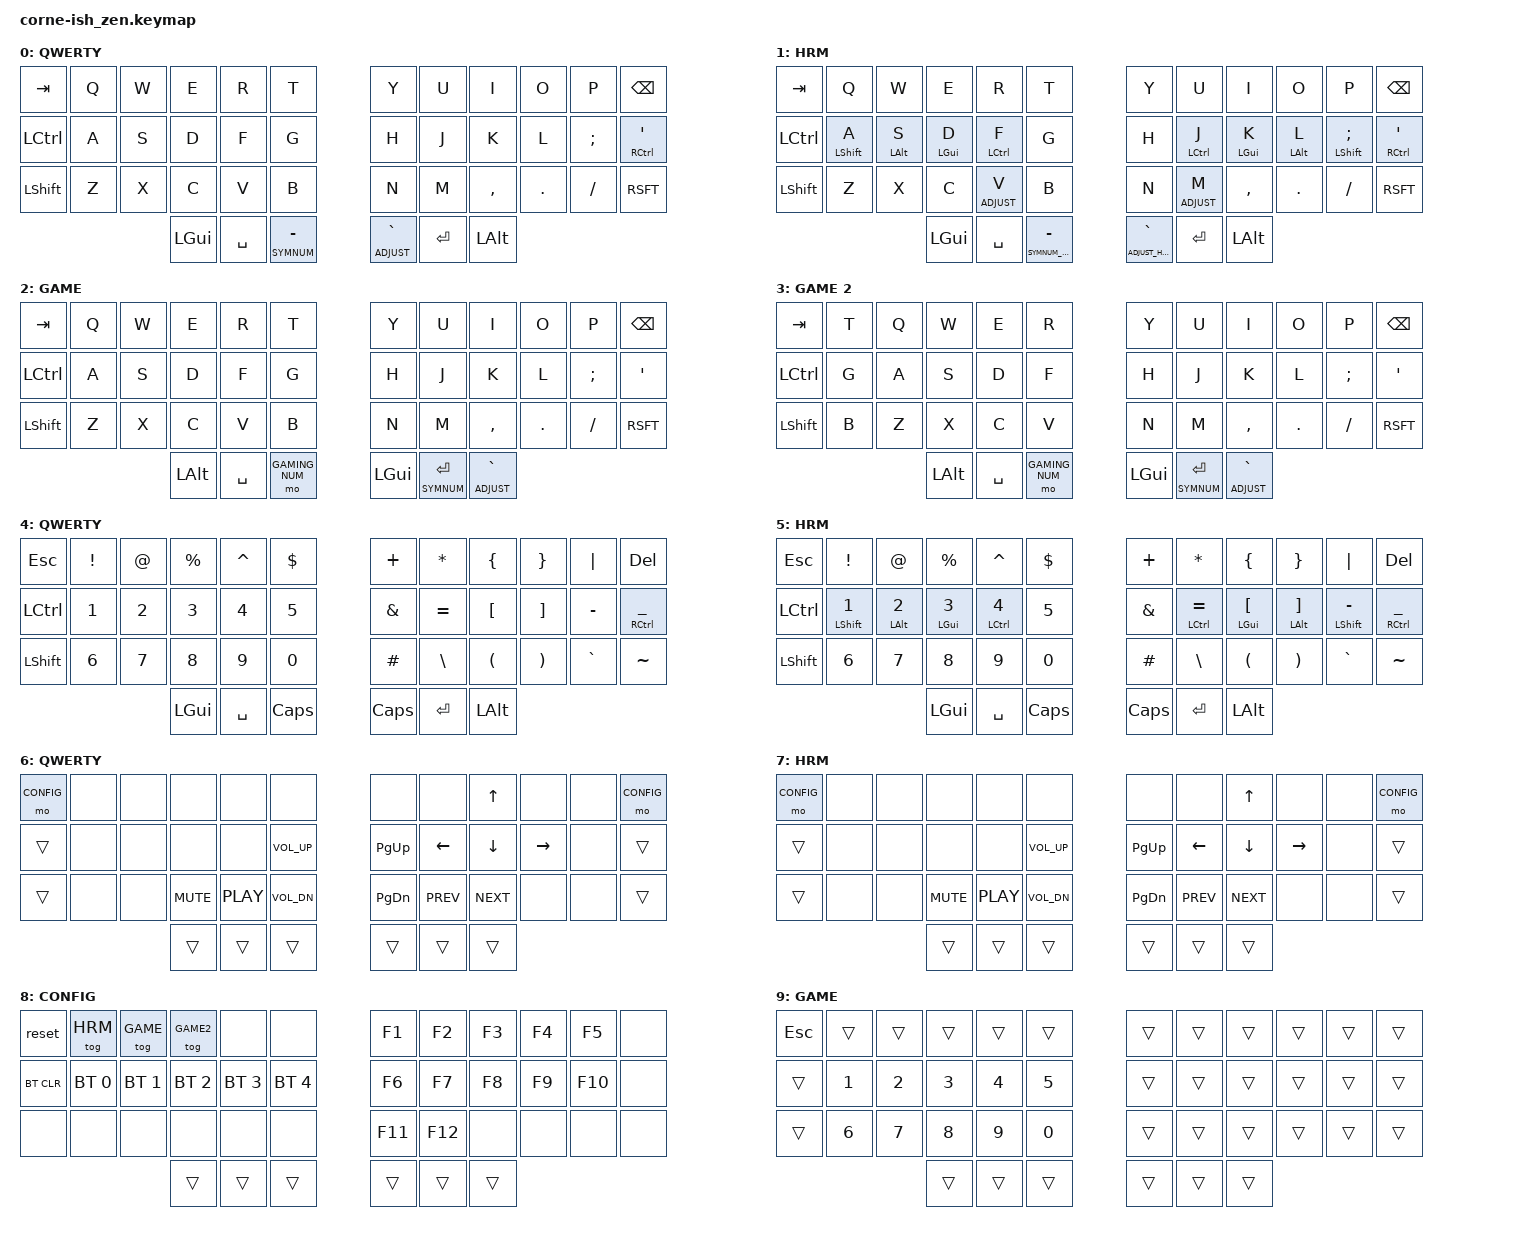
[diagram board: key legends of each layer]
/*
*
* Copyright (c) 2021 lowprokb.ca
* SPDX-License-Identifier: MIT
*
*/

#include <behaviors.dtsi>
#include <dt-bindings/zmk/keys.h>
#include <dt-bindings/zmk/bt.h>

#define DEFAULT 0
#define HRM 1
#define GAME 1
#define GAME2 3
#define SYMNUM 4
#define SYMNUM_HRM 5
#define ADJUST 6
#define ADJUST_HRM 7
#define CONFIG 8
#define GAMING_NUM 9

&mt {
    tapping-term-ms = <200>;
};

/ {

       behaviors {
           hm: homerow_mods {
               compatible = "zmk,behavior-hold-tap";
               label = "HOMEROW_MODS";
               #binding-cells = <2>;
               tapping-term-ms = <150>;
               quick_tap_ms = <0>;
               flavor = "tap-preferred";
               bindings = <&kp>, <&kp>;
           };
       };

        keymap {
                compatible = "zmk,keymap";

                default_layer {
                        label = "QWERTY";
                        bindings = <
   &kp TAB   &kp Q       &kp W      &kp E      &kp R        &kp T    &kp Y &kp U        &kp I      &kp O        &kp P          &kp BKSP
   &kp LCTL  &kp A       &kp S      &kp D      &kp F        &kp G    &kp H &kp J        &kp K      &kp L        &kp SEMI       &hm RCTL QUOT
   &kp LSHFT &kp Z       &kp X      &kp C      &kp V        &kp B    &kp N &kp M        &kp CMMA   &kp DOT      &kp FSLH       &kp RSFT
                                &kp LGUI &kp SPC &lt SYMNUM MINUS    &lt ADJUST GRAVE &kp ENTER &kp LALT
                        >;
                };

                hrm_layer {
                        label = "HRM";
                        bindings = <
   &kp TAB   &kp Q       &kp W      &kp E      &kp R        &kp T    &kp Y &kp U        &kp I      &kp O        &kp P          &kp BKSP
   &kp LCTL  &hm LSHFT A &hm LALT S &hm LGUI D &hm LCTL F   &kp G    &kp H &hm LCTL J   &hm LGUI K &hm LALT L   &hm LSHFT SEMI &hm RCTL QUOT
   &kp LSHFT &kp Z       &kp X      &kp C      &lt ADJUST V &kp B    &kp N &lt ADJUST M &kp CMMA   &kp DOT      &kp FSLH       &kp RSFT
                            &kp LGUI &kp SPC &lt SYMNUM_HRM MINUS    &lt ADJUST_HRM GRAVE &kp ENTER &kp LALT
                        >;
                };

                gaming_layer {
                        label = "GAME";
                        bindings = <
   &kp TAB   &kp Q &kp W &kp E &kp R &kp T    &kp Y &kp U &kp I    &kp O   &kp P    &kp BKSP
   &kp LCTL  &kp A &kp S &kp D &kp F &kp G    &kp H &kp J &kp K    &kp L   &kp SEMI &kp QUOT
   &kp LSHFT &kp Z &kp X &kp C &kp V &kp B    &kp N &kp M &kp CMMA &kp DOT &kp FSLH &kp RSFT
            &kp LALT &kp SPC &mo GAMING_NUM   &kp LGUI &lt SYMNUM ENTER &lt ADJUST GRAVE
                        >;
                };

                gaming2_layer {
                        label = "GAME 2";
                        bindings = <
   &kp TAB   &kp T &kp Q &kp W &kp E &kp R    &kp Y &kp U &kp I    &kp O   &kp P    &kp BKSP
   &kp LCTL  &kp G &kp A &kp S &kp D &kp F    &kp H &kp J &kp K    &kp L   &kp SEMI &kp QUOT
   &kp LSHFT &kp B &kp Z &kp X &kp C &kp V    &kp N &kp M &kp CMMA &kp DOT &kp FSLH &kp RSFT
            &kp LALT &kp SPC &mo GAMING_NUM   &kp LGUI &lt SYMNUM ENTER &lt ADJUST GRAVE
                        >;
                };

                synnum_layer {
                        label = "QWERTY";
                        bindings = <
   &kp ESC   &kp EXCL     &kp AT      &kp PRCNT   &kp CARET   &kp DLLR   &kp PLUS &kp STAR       &kp LBRC      &kp RBRC      &kp PIPE        &kp DEL
   &kp LCTL  &kp N1       &kp N2      &kp N3      &kp N4      &kp N5     &kp AMPS &kp EQUAL      &kp LBKT      &kp RBKT      &kp MINUS       &hm RCTL UNDER
   &kp LSHFT &kp N6       &kp N7      &kp N8      &kp N9      &kp N0     &kp HASH &kp BSLH       &kp LPAR      &kp RPAR      &kp GRAVE       &kp TILDE
                                           &kp LGUI &kp SPC &kp CAPS     &kp CAPS &kp ENTER &kp LALT
                        >;
                };

                synnum_hrm_layer {
                        label = "HRM";
                        bindings = <
   &kp ESC   &kp EXCL     &kp AT      &kp PRCNT   &kp CARET   &kp DLLR   &kp PLUS &kp STAR       &kp LBRC      &kp RBRC      &kp PIPE        &kp DEL
   &kp LCTL  &hm LSHFT N1 &hm LALT N2 &hm LGUI N3 &hm LCTL N4 &kp N5     &kp AMPS &hm LCTL EQUAL &hm LGUI LBKT &hm LALT RBKT &hm LSHFT MINUS &hm RCTL UNDER
   &kp LSHFT &kp N6       &kp N7      &kp N8      &kp N9      &kp N0     &kp HASH &kp BSLH       &kp LPAR      &kp RPAR      &kp GRAVE       &kp TILDE
                                           &kp LGUI &kp SPC &kp CAPS     &kp CAPS &kp ENTER &kp LALT
                        >;
                };

                adjust_layer {
                        label = "QWERTY";
                        bindings = <
   &mo CONFIG  &none   &none &none      &none       &none            &none     &none      &kp UP     &none     &none &mo CONFIG
   &trans      &none   &none &none      &none       &kp C_VOL_UP     &kp PG_UP &kp LEFT   &kp DOWN   &kp RIGHT &none &trans
   &trans      &none   &none &kp C_MUTE &kp C_PLAY  &kp C_VOL_DN     &kp PG_DN &kp C_PREV &kp C_NEXT &none     &none &trans
                                            &trans &trans &trans     &trans &trans &trans
                        >;
                };

                adjust_hrm_layer {
                        label = "HRM";
                        bindings = <
   &mo CONFIG  &none   &none &none      &none       &none            &none     &none      &kp UP     &none     &none &mo CONFIG
   &trans      &none   &none &none      &none       &kp C_VOL_UP     &kp PG_UP &kp LEFT   &kp DOWN   &kp RIGHT &none &trans
   &trans      &none   &none &kp C_MUTE &kp C_PLAY  &kp C_VOL_DN     &kp PG_DN &kp C_PREV &kp C_NEXT &none     &none &trans
                                            &trans &trans &trans     &trans &trans &trans
                        >;
                };

                config_layer {
                        label = "CONFIG";
                        bindings = <
   &reset     &tog HRM     &tog GAME    &tog GAME2   &none        &none           &kp F1   &kp F2  &kp F3 &kp F4 &kp F5  &none
   &bt BT_CLR &bt BT_SEL 0 &bt BT_SEL 1 &bt BT_SEL 2 &bt BT_SEL 3 &bt BT_SEL 4    &kp F6   &kp F7  &kp F8 &kp F9 &kp F10 &none
   &none      &none        &none        &none        &none        &none           &kp F11  &kp F12 &none  &none  &none   &none
                                                           &trans &trans &trans   &trans &trans &trans
                        >;
                };

                gaming_num_layer {
                        label = "GAME";
                        bindings = <
   &kp ESC &trans &trans &trans &trans &trans   &trans &trans &trans &trans &trans &trans
   &trans  &kp N1 &kp N2 &kp N3 &kp N4 &kp N5   &trans &trans &trans &trans &trans &trans
   &trans  &kp N6 &kp N7 &kp N8 &kp N9 &kp N0   &trans &trans &trans &trans &trans &trans
                         &trans &trans &trans   &trans &trans &trans
                        >;
                };
        };
};
